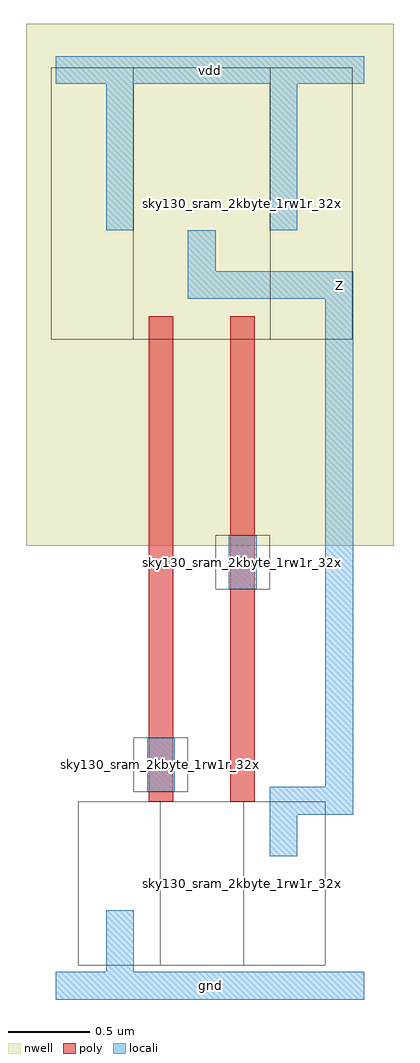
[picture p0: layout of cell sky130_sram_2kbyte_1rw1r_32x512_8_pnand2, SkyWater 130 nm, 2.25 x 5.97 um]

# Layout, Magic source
magic
tech sky130A
magscale 1 2
<< nwell >>
rect -36 538 414 1177
<< poly >>
rect 114 225 144 819
rect 214 225 244 819
<< locali >>
rect 0 1103 378 1137
rect 62 924 96 1103
rect 262 924 296 1103
rect 162 874 196 924
rect 162 840 364 874
rect 212 485 246 551
rect 112 237 146 303
rect 330 243 364 840
rect 262 209 364 243
rect 262 158 296 209
rect 62 17 96 92
rect 0 -17 378 17
use sky130_sram_2kbyte_1rw1r_32x512_8_contact_16  sky130_sram_2kbyte_1rw1r_32x512_8_contact_16_0
transform 1 0 196 0 1 485
box 0 0 66 66
use sky130_sram_2kbyte_1rw1r_32x512_8_contact_16  sky130_sram_2kbyte_1rw1r_32x512_8_contact_16_1
transform 1 0 96 0 1 237
box 0 0 66 66
use sky130_sram_2kbyte_1rw1r_32x512_8_nmos_m1_w0_740_sactive_dli  sky130_sram_2kbyte_1rw1r_32x512_8_nmos_m1_w0_740_sactive_dli_0
transform 1 0 154 0 1 51
box -26 -26 176 174
use sky130_sram_2kbyte_1rw1r_32x512_8_nmos_m1_w0_740_sli_dactive  sky130_sram_2kbyte_1rw1r_32x512_8_nmos_m1_w0_740_sli_dactive_0
transform 1 0 54 0 1 51
box -26 -26 176 174
use sky130_sram_2kbyte_1rw1r_32x512_8_pmos_m1_w1_120_sli_dli  sky130_sram_2kbyte_1rw1r_32x512_8_pmos_m1_w1_120_sli_dli_0
transform 1 0 154 0 1 845
box -59 -54 209 278
use sky130_sram_2kbyte_1rw1r_32x512_8_pmos_m1_w1_120_sli_dli  sky130_sram_2kbyte_1rw1r_32x512_8_pmos_m1_w1_120_sli_dli_1
transform 1 0 54 0 1 845
box -59 -54 209 278
<< labels >>
rlabel locali s 347 857 347 857 4 Z
rlabel locali s 189 0 189 0 4 gnd
rlabel locali s 189 1120 189 1120 4 vdd
rlabel locali s 129 270 129 270 4 A
rlabel locali s 229 518 229 518 4 B
<< properties >>
string FIXED_BBOX 0 0 378 1120
<< end >>
